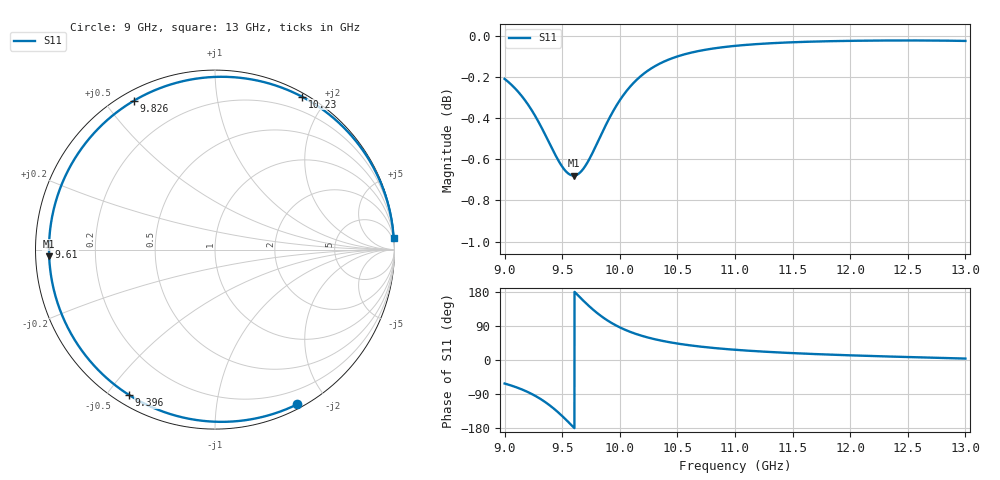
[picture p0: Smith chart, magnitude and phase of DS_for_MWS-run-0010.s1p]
! TOUCHSTONE file generated by CST DESIGN STUDIO
! Date and time: Tue Feb  4 12:54:00 2025
! Project name: C:\Work\MatlabApps\UnitCellOptimizationMatlab\CST\unitcell.cst
! Tree item: Tasks\Sweep1\SPara1\S-Parameters
! Header version: 2024
! Port assignment regex: !\s*Touchstone port\s*([0-9]+)\s*=\s*(CST MWS port|CST DES external port|CST DES block port)\s*(.+)\s* \(\"(.*)\"\)(\s*mode\s*([0-9]+))?.*
! Touchstone port assignment:
! Touchstone port 1 = CST DES external port 1 ("")
# GHz S MA R 50
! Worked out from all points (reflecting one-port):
!   4001 points, 9 GHz to 13 GHz, reference 50 ohm
!   lowest |S11| = -0.7 dB at 9.599 GHz (marker M1), VSWR 25.60, Z = 1.95 - j1.02 ohm
!   phase of S11 starts at -62 deg and turns -294 deg over the sweep
!   S11 on the Smith chart (normalised r, x): 9 GHz: 0.05, -1.66; 9.396 GHz: 0.04, -0.57; 9.61 GHz: 0.04, +0.01; 9.826 GHz: 0.04, +0.59; 10.23 GHz: 0.04, +1.72; 13 GHz: 1, +30
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9  0.9762 -62.1
9.051  0.9735 -66.7
9.122  0.9689 -74.3
9.244  0.9584 -91.0
9.325  0.9495 -105.4
9.396  0.9409 -120.7
9.448  0.9347 -133.6
9.5  0.9294 -147.9
9.551  0.9259 -162.9
9.599  0.9248 -177.7
9.61  0.9249 178.9
9.666  0.9271 161.8
9.727  0.9324 143.9
9.776  0.9382 130.8
9.826  0.9446 118.6
9.865  0.9496 110.0
9.906  0.9546 101.8
10  0.9646 86.1
10.11  0.9734 72.0
10.231  0.9802 60.4
10.355  0.9849 51.4
10.5  0.9886 43.4
10.72  0.992 34.7
11  0.9944 27.0
11.5  0.9964 18.2
12  0.9972 12.3
12.5  0.9974 7.8
13  0.9972 3.8
